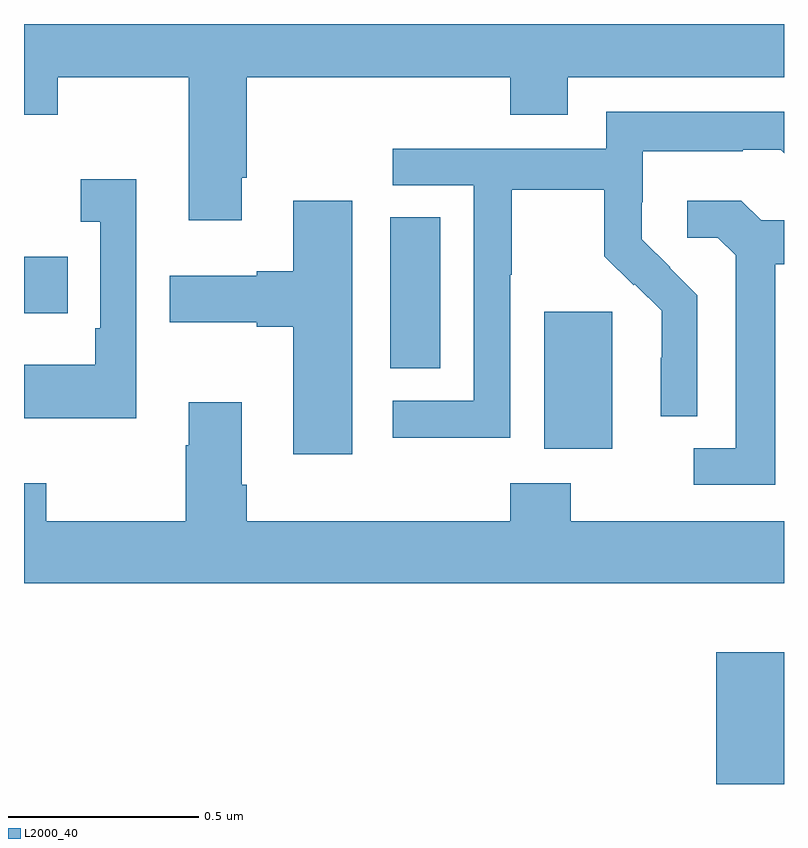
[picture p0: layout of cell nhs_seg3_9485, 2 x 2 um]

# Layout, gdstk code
import gdstk
lib = gdstk.Library(unit=1e-6, precision=1e-09)
def R(c, l, rs):  # rectangles x0, y0, x1, y1
    for r in rs: c.add(gdstk.rectangle(r[:2], r[2:], *l))
def P(c, l, *ps):  # polygons
    for p in ps: c.add(gdstk.Polygon(p, *l))
L2000_40 = (2000, 40)

nhs_seg3_9485 = lib.new_cell('nhs_seg3_9485')
R(nhs_seg3_9485, L2000_40, [(230.822,688.4,231,688.747), (230.369,689.282,230.548,689.643), (229.964,689.494,230.095,689.891), (229,689.639,229.115,689.787)])
P(nhs_seg3_9485, L2000_40, [(229.573,689.995),(229.586,689.995),(229.586,690.26),(230.279,690.26),(230.279,690.161),(230.431,690.161),(230.431,690.26),(231,690.26),(231,690.4),(229,690.4),(229,690.161),(229.089,690.161),(229.089,690.26),(229.433,690.26),(229.433,689.883),(229.573,689.883)],
  [(230.28,689.74),(230.283,689.74),(230.283,689.964),(230.527,689.964),(230.527,689.789),(230.604,689.712),(230.607,689.715),(230.678,689.645),(230.678,689.522),(230.676,689.522),(230.676,689.368),(230.772,689.368),(230.772,689.686),(230.699,689.759),(230.7,689.76),(230.626,689.834),(230.626,689.931),(230.628,689.931),(230.628,690.065),(230.891,690.065),(230.891,690.069),(230.991,690.069),(231,690.06),(231,690.169),(230.532,690.169),(230.532,690.072),(229.971,690.072),(229.971,689.976),(230.184,689.976),(230.184,689.409),(229.971,689.409),(229.971,689.311),(230.28,689.311)],
  [(229.296,689.992),(229.149,689.992),(229.149,689.879),(229.2,689.879),(229.2,689.599),(229.188,689.599),(229.188,689.503),(229,689.503),(229,689.363),(229.296,689.363)],
  [(230.977,689.768),(231,689.768),(231,689.883),(230.94,689.883),(230.888,689.935),(230.745,689.935),(230.745,689.838),(230.826,689.838),(230.873,689.791),(230.873,689.283),(230.763,689.283),(230.763,689.187),(230.977,689.187)],
  [(229.864,689.935),(229.709,689.935),(229.709,689.75),(229.613,689.75),(229.613,689.737),(229.383,689.737),(229.383,689.615),(229.613,689.615),(229.613,689.603),(229.709,689.603),(229.709,689.268),(229.864,689.268)],
  [(231,689.092),(230.439,689.092),(230.439,689.191),(230.279,689.191),(230.279,689.092),(229.586,689.092),(229.586,689.188),(229.573,689.188),(229.573,689.404),(229.433,689.404),(229.433,689.291),(229.426,689.291),(229.426,689.092),(229.059,689.092),(229.059,689.191),(229,689.191),(229,688.928),(231,688.928)])

lib.write_gds('nhs_seg3_9485.gds')
